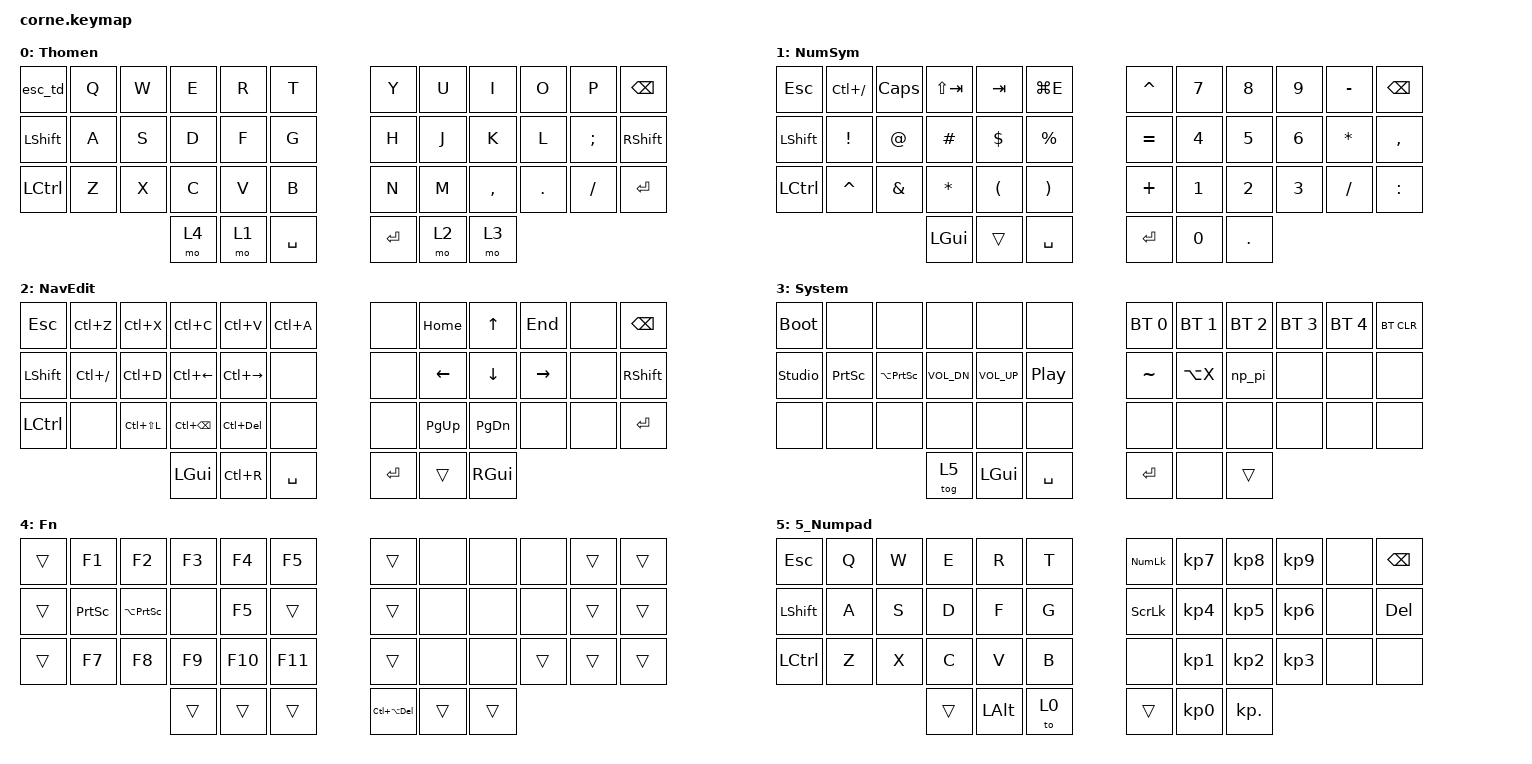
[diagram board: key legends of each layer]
/*
 * Corne 42-key ZMK keymap converted from 260923Corne.json (Vial/QMK)
 *
 * Four extra center keys from the source Vial board are intentionally omitted.
 * RGB and mouse emulation are intentionally omitted.
 */

#include <behaviors.dtsi>
#include <dt-bindings/zmk/keys.h>
#include <dt-bindings/zmk/bt.h>

/ {
    behaviors {
        /*
         * Recreates Vial TD(0):
         *   single tap       -> Escape
         *   single hold      -> Delete
         *   double tap       -> nothing
         *   tap, then hold   -> Left Alt
         *   tapping term     -> 300 ms
         *
         * The tap-dance selects one of two nested hold-taps.
         */
        esc_del_ht: esc_delete_hold_tap {
            compatible = "zmk,behavior-hold-tap";
            #binding-cells = <2>;
            flavor = "hold-preferred";
            tapping-term-ms = <300>;
            bindings = <&kp>, <&kp>;
            display-name = "Esc / Delete";
        };

        alt_none_ht: alt_none_hold_tap {
            compatible = "zmk,behavior-hold-tap";
            #binding-cells = <2>;
            flavor = "hold-preferred";
            tapping-term-ms = <300>;
            bindings = <&kp>, <&none>;
            display-name = "Alt / None";
        };

        esc_td: escape_tap_dance {
            compatible = "zmk,behavior-tap-dance";
            #binding-cells = <0>;
            tapping-term-ms = <300>;
            bindings = <&esc_del_ht DEL ESC>, <&alt_none_ht LALT 0>;
            display-name = "Esc / Del / Alt";
        };

        np_pi: np_pi_macro {
            compatible = "zmk,behavior-macro";
            #binding-cells = <0>;
            wait-ms = <15>;
            tap-ms = <30>;
            bindings = <&kp N &kp P &kp DOT &kp P &kp I>;
            display-name = "np.pi";
        };
    };

    combos {
        compatible = "zmk,combos";

        /* Base punctuation combos. Left-hand letter combos are also active on layer 5,
         * where those physical positions still contain the same QWERTY letters. */
        combo_df_lpar {
            timeout-ms = <50>;
            key-positions = <15 16>;
            layers = <0 5>;
            bindings = <&kp LPAR>;
        };

        combo_jk_rpar {
            timeout-ms = <50>;
            key-positions = <19 20>;
            layers = <0>;
            bindings = <&kp RPAR>;
        };

        combo_er_lbkt {
            timeout-ms = <50>;
            key-positions = <3 4>;
            layers = <0 5>;
            bindings = <&kp LBKT>;
        };

        combo_ui_rbkt {
            timeout-ms = <50>;
            key-positions = <7 8>;
            layers = <0>;
            bindings = <&kp RBKT>;
        };

        combo_cv_lbrc {
            timeout-ms = <50>;
            key-positions = <27 28>;
            layers = <0 5>;
            bindings = <&kp LBRC>;
        };

        combo_mcomma_rbrc {
            timeout-ms = <50>;
            key-positions = <31 32>;
            layers = <0>;
            bindings = <&kp RBRC>;
        };

        combo_kl_minus {
            timeout-ms = <50>;
            key-positions = <20 21>;
            layers = <0>;
            bindings = <&kp MINUS>;
        };

        combo_sd_under {
            timeout-ms = <50>;
            key-positions = <14 15>;
            layers = <0 5>;
            bindings = <&kp UNDER>;
        };

        combo_io_quote {
            timeout-ms = <50>;
            key-positions = <8 9>;
            layers = <0>;
            bindings = <&kp SQT>;
        };

        combo_we_dquote {
            timeout-ms = <50>;
            key-positions = <2 3>;
            layers = <0 5>;
            bindings = <&kp DQT>;
        };

        combo_xc_slash {
            timeout-ms = <50>;
            key-positions = <26 27>;
            layers = <0 5>;
            bindings = <&kp FSLH>;
        };

        combo_commadot_bslash {
            timeout-ms = <50>;
            key-positions = <32 33>;
            layers = <0>;
            bindings = <&kp BSLH>;
        };

        /* Number-layer combos (layer 1). */
        combo_46_e {
            timeout-ms = <50>;
            key-positions = <19 21>;
            layers = <1>;
            bindings = <&kp E>;
        };

        combo_89_minus {
            timeout-ms = <50>;
            key-positions = <8 9>;
            layers = <1>;
            bindings = <&kp MINUS>;
        };

        combo_78_caret {
            timeout-ms = <50>;
            key-positions = <7 8>;
            layers = <1>;
            bindings = <&kp CARET>;
        };

        combo_45_equal {
            timeout-ms = <50>;
            key-positions = <19 20>;
            layers = <1>;
            bindings = <&kp EQUAL>;
        };

        combo_12_plus {
            timeout-ms = <50>;
            key-positions = <31 32>;
            layers = <1>;
            bindings = <&kp PLUS>;
        };

        combo_56_kpast {
            timeout-ms = <50>;
            key-positions = <20 21>;
            layers = <1>;
            bindings = <&kp KP_ASTERISK>;
        };

        combo_23_slash {
            timeout-ms = <50>;
            key-positions = <32 33>;
            layers = <1>;
            bindings = <&kp FSLH>;
        };

        combo_79_nppi {
            timeout-ms = <50>;
            key-positions = <7 9>;
            layers = <1>;
            bindings = <&np_pi>;
        };
    };

    keymap {
        compatible = "zmk,keymap";

        base_layer {
            display-name = "Thomen";
// -------------------------------------------------------------------------------------------------
// | EscTD |   Q   |   W   |   E   |   R   |   T   |   |   Y   |   U   |   I   |   O   |   P   | BSPC |
// | LShft |   A   |   S   |   D   |   F   |   G   |   |   H   |   J   |   K   |   L   |   ;   | RShft|
// | LCtrl |   Z   |   X   |   C   |   V   |   B   |   |   N   |   M   |   ,   |   .   |   /   | Enter|
//                         | MO(4) | MO(1) | Space |   | Enter | MO(2) | MO(3) |
            bindings = <
                &esc_td    &kp Q     &kp W     &kp E     &kp R     &kp T       &kp Y     &kp U     &kp I      &kp O     &kp P      &kp BSPC
                &kp LSHFT  &kp A     &kp S     &kp D     &kp F     &kp G       &kp H     &kp J     &kp K      &kp L     &kp SEMI   &kp RSHFT
                &kp LCTRL  &kp Z     &kp X     &kp C     &kp V     &kp B       &kp N     &kp M     &kp COMMA  &kp DOT   &kp FSLH   &kp RET
                                      &mo 4     &mo 1     &kp SPACE             &kp RET   &mo 2     &mo 3
            >;
        };

        symbols_layer {
            display-name = "NumSym";
            bindings = <
                &kp ESC    &kp LC(FSLH) &kp CAPS   &kp LS(TAB) &kp TAB    &kp LG(E)      &kp CARET &kp N7    &kp N8     &kp N9    &kp MINUS  &kp BSPC
                &kp LSHFT  &kp EXCL     &kp AT     &kp HASH    &kp DLLR   &kp PRCNT       &kp EQUAL &kp N4    &kp N5     &kp N6    &kp ASTRK  &kp COMMA
                &kp LCTRL  &kp CARET    &kp AMPS   &kp ASTRK   &kp LPAR   &kp RPAR        &kp PLUS  &kp N1    &kp N2     &kp N3    &kp FSLH   &kp COLON
                                           &kp LGUI &trans     &kp SPACE                  &kp RET   &kp N0    &kp DOT
            >;
        };

        nav_edit_layer {
            display-name = "NavEdit";
            bindings = <
                &kp ESC    &kp LC(Z)     &kp LC(X)     &kp LC(C)     &kp LC(V)      &kp LC(A)       &none       &kp HOME    &kp UP      &kp END     &none       &kp BSPC
                &kp LSHFT  &kp LC(FSLH)  &kp LC(D)     &kp LC(LEFT)  &kp LC(RIGHT)  &none           &none       &kp LEFT    &kp DOWN    &kp RIGHT   &none       &kp RSHFT
                &kp LCTRL  &none         &kp LC(LS(L)) &kp LC(BSPC)  &kp LC(DEL)    &none           &none       &kp PG_UP   &kp PG_DN   &none       &none       &kp RET
                                               &kp LGUI &kp LC(R)    &kp SPACE                    &kp RET     &trans      &kp RGUI
            >;
        };

        system_layer {
            display-name = "System";
            bindings = <
                &bootloader     &none       &none          &none        &none         &none          &bt BT_SEL 0   &bt BT_SEL 1  &bt BT_SEL 2 &bt BT_SEL 3  &bt BT_SEL 4   &bt BT_CLR
                &studio_unlock  &kp PSCRN   &kp LA(PSCRN)  &kp C_VOL_DN &kp C_VOL_UP  &kp C_PP       &kp TILDE      &kp LA(X)   &np_pi  &none    &none    &none
                &none           &none       &none          &none        &none         &none          &none          &none       &none    &none    &none    &none
                                             &tog 5        &kp LGUI     &kp SPACE                    &kp RET       &none    &trans
            >;
        };

        fn_layer {
            display-name = "Fn";
            /* Former mouse keys are intentionally &none. They can be reassigned in Studio. */
            bindings = <
                &trans     &kp F1      &kp F2      &kp F3      &kp F4      &kp F5        &trans       &none       &none       &none       &trans      &trans
                &trans     &kp PSCRN   &kp LA(PSCRN)     &none       &kp F5      &trans        &trans       &none       &none       &none       &trans      &trans
                &trans     &kp F7      &kp F8      &kp F9      &kp F10     &kp F11       &trans       &none       &none       &trans      &trans      &trans
                                           &trans  &trans      &trans                     &kp LC(LA(DEL)) &trans  &trans
            >;
        };

        numpad_layer {
            display-name = "5_Numpad";
            bindings = <
                &kp ESC    &kp Q       &kp W       &kp E       &kp R       &kp T         &kp KP_NUMLOCK &kp KP_N7  &kp KP_N8  &kp KP_N9  &none       &kp BSPC
                &kp LSHFT  &kp A       &kp S       &kp D       &kp F       &kp G         &kp SCROLLLOCK &kp KP_N4  &kp KP_N5  &kp KP_N6  &none       &kp DEL
                &kp LCTRL  &kp Z       &kp X       &kp C       &kp V       &kp B         &none          &kp KP_N1  &kp KP_N2  &kp KP_N3  &none       &none
                                           &trans  &kp LALT    &to 0                      &trans         &kp KP_N0  &kp KP_DOT
            >;
        };
    };
};
